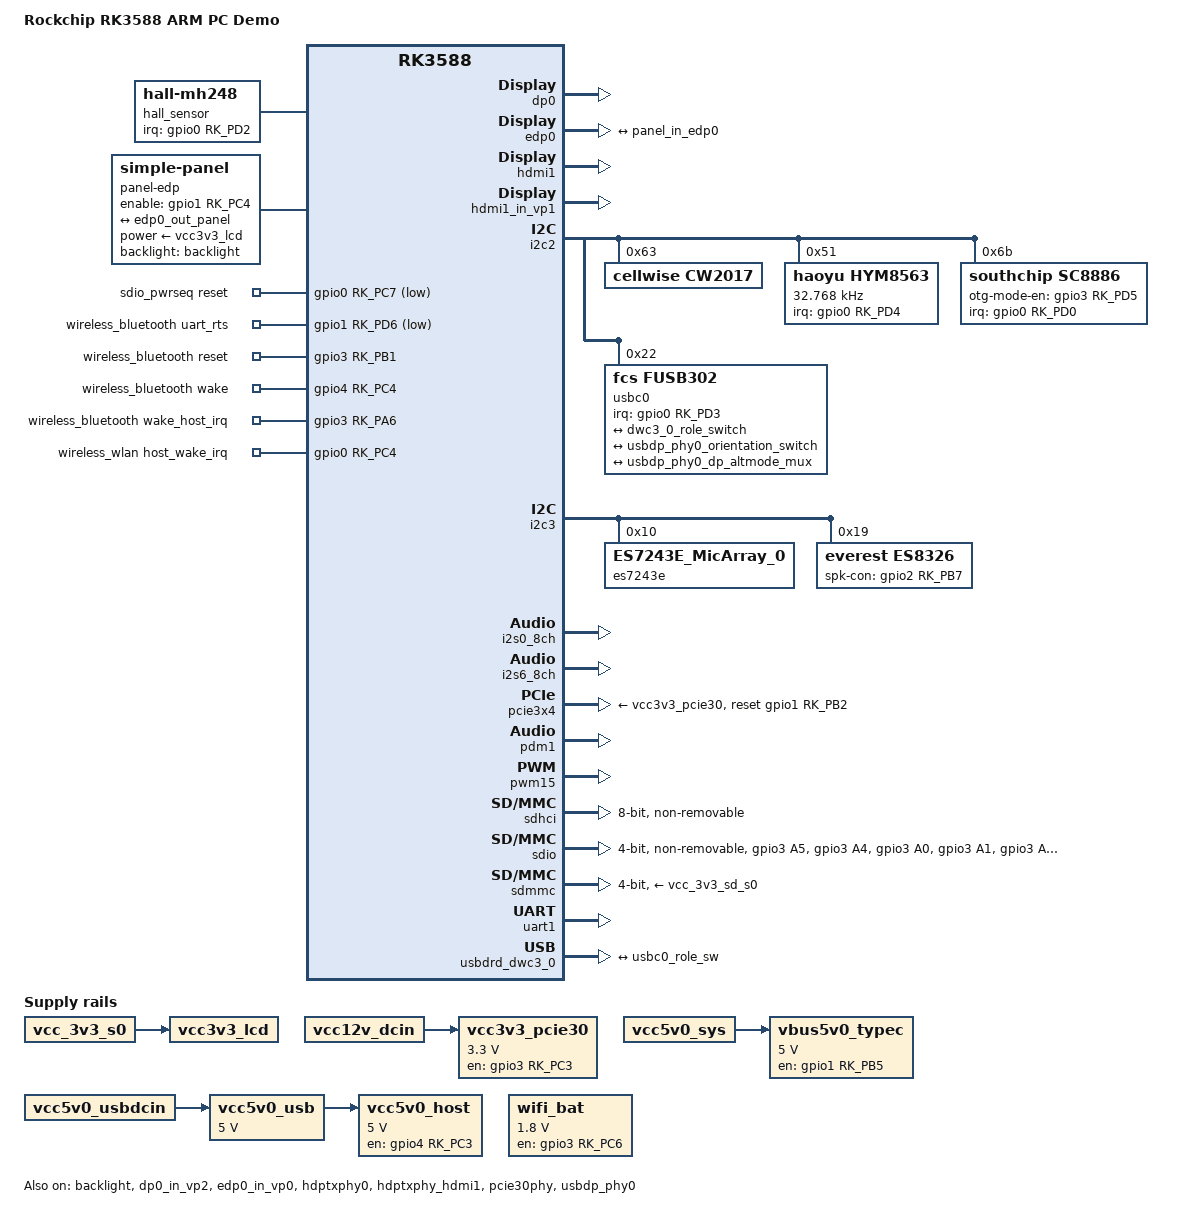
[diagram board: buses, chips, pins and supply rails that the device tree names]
// SPDX-License-Identifier: (GPL-2.0+ OR MIT)
/*
 * Copyright (c) 2021 Rockchip Electronics Co., Ltd.
 *
 */

/dts-v1/;

#include <dt-bindings/usb/pd.h>
#include <dt-bindings/display/rockchip_vop.h>

#include "rk3588.dtsi"
#include "rk3588-rk806-dual.dtsi"
#include "rk3588-linux.dtsi"
#include "rk3588-pc.dtsi"

/ {
	model = "Rockchip RK3588 ARM PC Demo";
	compatible = "rockchip,rk3588-arm-pc-demo", "rockchip,rk3588";

	chosen: chosen {
		bootargs = "earlycon=uart8250,mmio32,0xfeb50000 console=tty1 console=ttyFIQ0 root=PARTUUID=614e0000-0000 rw rootwait wifibt=ap6275s:ttyS1";
	};

	dmic_sound: dmic-sound {
		compatible = "simple-audio-card";
		simple-audio-card,format = "i2s";
		simple-audio-card,mclk-fs = <256>;
		simple-audio-card,name = "rockchip,dmic-sound";
		simple-audio-card,cpu {
			sound-dai = <&pdm1>;
		};
		simple-audio-card,codec {
			sound-dai = <&dmic_codec>;
		};
	};

	dmic_codec: dmic-codec {
		compatible = "rockchip,dummy-codec";
		#sound-dai-cells = <0>;
	};

	es_sound: es-sound {
		compatible = "simple-audio-card";
		simple-audio-card,format = "i2s";
		simple-audio-card,mclk-fs = <256>;
		simple-audio-card,name = "rockchip,es-sound";

		simple-audio-card,dai-link@0 {
			format = "i2s";
			cpu {
				sound-dai = <&i2s0_8ch>;
			};
			codec {
				sound-dai = <&es8326>;
			};
		};
		simple-audio-card,dai-link@1 {
			format = "i2s";
			cpu {
				sound-dai = <&i2s0_8ch>;
			};
			codec {
				sound-dai = <&es7243e>;
			};
		};
	};

	hall_sensor: hall-mh248 {
		compatible = "hall-mh248";
		pinctrl-names = "default";
		pinctrl-0 = <&mh248_irq_gpio>;
		irq-gpio = <&gpio0 RK_PD2 IRQ_TYPE_EDGE_BOTH>;
		hall-active = <1>;
		status = "okay";
	};

	leds: leds {
		compatible = "gpio-leds";
		pinctrl-names = "default";
		pinctrl-0 =<&leds_gpio>;
	};

	panel-edp {
		compatible = "simple-panel";
		backlight = <&backlight>;
		enable-gpios = <&gpio1 RK_PC4 GPIO_ACTIVE_HIGH>;
		power-supply = <&vcc3v3_lcd>;
		prepare-delay-ms = <210>;
		enable-delay-ms = <50>;
		unprepare-delay-ms = <160>;
		disable-delay-ms = <120>;
		width-mm = <309>;
		height-mm = <174>;

		panel-timing {
			clock-frequency = <148500000>;
			hactive = <1920>;
			vactive = <1080>;
			hfront-porch = <48>;
			hsync-len = <32>;
			hback-porch = <200>;
			vfront-porch = <3>;
			vsync-len = <5>;
			vback-porch = <37>;
			hsync-active = <0>;
			vsync-active = <0>;
			de-active = <0>;
			pixelclk-active = <0>;
		};

		port {
			panel_in_edp0: endpoint {
				remote-endpoint = <&edp0_out_panel>;
			};
		};
	};

	sdio_pwrseq: sdio-pwrseq {
		compatible = "mmc-pwrseq-simple";
		pinctrl-names = "default";
		pinctrl-0 = <&wifi_enable_h>;

		/*
		 * On the module itself this is one of these (depending
		 * on the actual card populated):
		 * - SDIO_RESET_L_WL_REG_ON
		 * - PDN (power down when low)
		 */
		post-power-on-delay-ms = <200>;
		reset-gpios = <&gpio0 RK_PC7 GPIO_ACTIVE_LOW>;
	};

	vcc3v3_lcd: vcc3v3-lcd {
		compatible = "regulator-fixed";
		regulator-name = "vcc3v3_lcd";
		vin-supply = <&vcc_3v3_s0>;
	};

	vcc3v3_pcie30: vcc3v3-pcie30 {
		compatible = "regulator-fixed";
		regulator-name = "vcc3v3_pcie30";
		regulator-min-microvolt = <3300000>;
		regulator-max-microvolt = <3300000>;
		enable-active-high;
		gpios = <&gpio3 RK_PC3 GPIO_ACTIVE_HIGH>;
		startup-delay-us = <5000>;
		vin-supply = <&vcc12v_dcin>;
	};

	vcc5v0_host: vcc5v0-host {
		compatible = "regulator-fixed";
		regulator-name = "vcc5v0_host";
		regulator-boot-on;
		regulator-always-on;
		regulator-min-microvolt = <5000000>;
		regulator-max-microvolt = <5000000>;
		enable-active-high;
		gpio = <&gpio4 RK_PC3 GPIO_ACTIVE_HIGH>;
		vin-supply = <&vcc5v0_usb>;
		pinctrl-names = "default";
		pinctrl-0 = <&vcc5v0_host_en>;
	};

	vbus5v0_typec: vbus5v0-typec {
		compatible = "regulator-fixed";
		regulator-name = "vbus5v0_typec";
		regulator-min-microvolt = <5000000>;
		regulator-max-microvolt = <5000000>;
		enable-active-high;
		gpio = <&gpio1 RK_PB5 GPIO_ACTIVE_HIGH>;
		vin-supply = <&vcc5v0_sys>;
		pinctrl-names = "default";
		pinctrl-0 = <&typec5v_pwren>;

	};

	vcc5v0_usb: vcc5v0-usb {
		compatible = "regulator-fixed";
		regulator-name = "vcc5v0_usb";
		regulator-always-on;
		regulator-boot-on;
		regulator-min-microvolt = <5000000>;
		regulator-max-microvolt = <5000000>;
		vin-supply = <&vcc5v0_usbdcin>;
	};

	wifi_bat: wifi_bat {
		compatible = "regulator-fixed";
		regulator-name = "wifi_vbat";
		regulator-boot-on;
		regulator-always-on;
		regulator-min-microvolt = <1800000>;
		regulator-max-microvolt = <1800000>;
		gpio = <&gpio3 RK_PC6 GPIO_ACTIVE_HIGH>;
		enable-active-high;
		pinctrl-names = "default";
		pinctrl-0 = <&wifi_3v3>;
	};

	wireless_bluetooth: wireless-bluetooth {
		compatible = "bluetooth-platdata";
		clocks = <&hym8563>;
		clock-names = "ext_clock";
		uart_rts_gpios = <&gpio1 RK_PD6 GPIO_ACTIVE_LOW>;
		pinctrl-names = "default", "rts_gpio";
		pinctrl-0 = <&uart1m1_rtsn>;
		pinctrl-1 = <&uart1_gpios>;
		BT,reset_gpio    = <&gpio3 RK_PB1 GPIO_ACTIVE_HIGH>;
		BT,wake_gpio     = <&gpio4 RK_PC4 GPIO_ACTIVE_HIGH>;
		BT,wake_host_irq = <&gpio3 RK_PA6 GPIO_ACTIVE_HIGH>;
		status = "okay";
	};

	wireless_wlan: wireless-wlan {
		compatible = "wlan-platdata";
		wifi_chip_type = "ap6275s";
		pinctrl-names = "default";
		pinctrl-0 = <&wifi_host_wake_irq>;
		WIFI,host_wake_irq = <&gpio0 RK_PC4 GPIO_ACTIVE_HIGH>;
		status = "okay";
	};

};

&backlight {
	status = "okay";
	pwms = <&pwm15 0 25000 0>;
	enable-gpios = <&gpio4 RK_PB5 GPIO_ACTIVE_HIGH>;
};

&dp0 {
	status = "okay";
};

&dp0_in_vp2 {
	status = "okay";
};

&edp0 {
	force-hpd;
	status = "okay";

	ports {
		port@1 {
			reg = <1>;

			edp0_out_panel: endpoint {
				remote-endpoint = <&panel_in_edp0>;
			};
		};
	};
};

&edp0_in_vp0 {
	status = "okay";
};

&hdmi1 {
	pinctrl-0=<&hdmim2_tx1_cec &hdmim0_tx1_hpd &hdmim2_tx1_scl &hdmim2_tx1_sda>;
	pinctrl-names = "default";
	enable-gpios = <&gpio4 RK_PB0 GPIO_ACTIVE_HIGH>;
	status = "okay";
};

&hdmi1_in_vp1 {
	status = "okay";
};

&hdmi1_sound {
	status = "disabled";
};

&hdptxphy0 {
	status = "okay";
};

&hdptxphy_hdmi1 {
	status = "okay";
};

&i2c2 {
	status = "okay";
	cw2017: cw2017@63 {
		status = "okay";
		compatible = "cellwise,cw2017";
		reg = <0x63>;
		cellwise,battery-profile = /bits/ 8
			<0x46 0x00 0x00 0x00 0x00 0x00 0x00 0x00
			0xA1 0xC1 0xC6 0xC9 0xCE 0xC6 0x8B 0x48
			0x28 0xFF 0xFF 0xCC 0x9F 0x75 0x60 0x50
			0x47 0x43 0x3D 0x74 0xA2 0xD8 0x96 0xD9
			0xD1 0xCF 0xCD 0xCA 0xB8 0xE0 0xDB 0x91
			0xA8 0xAF 0xAB 0x96 0x89 0x7E 0x71 0x5F
			0x53 0x4C 0x66 0x87 0x9B 0x8B 0x78 0x99
			0x00 0x00 0x90 0x02 0x00 0x00 0x00 0x00
			0x00 0x00 0x64 0x00 0x00 0x00 0x00 0x00
			0x00 0x00 0x00 0x00 0x00 0x00 0x00 0x6E>;
		cellwise,dual-cell;
		cellwise,monitor-interval-ms = <5000>;
		power-supplies = <&sc8886>;
	};

	hym8563: hym8563@51 {
		compatible = "haoyu,hym8563";
		reg = <0x51>;
		#clock-cells = <0>;
		clock-frequency = <32768>;
		clock-output-names = "hym8563";
		pinctrl-names = "default";
		pinctrl-0 = <&hym8563_int>;
		interrupt-parent = <&gpio0>;
		interrupts = <RK_PD4 IRQ_TYPE_LEVEL_LOW>;
	};

	sc8886: sc8886@6b {
		compatible = "southchip,sc8886";
		reg = <0x6b>;
		ti,usb-charger-detection = <&usbc0>;
		interrupt-parent = <&gpio0>;
		interrupts = <RK_PD0 IRQ_TYPE_LEVEL_LOW>;
		otg-mode-en-gpio = <&gpio3 RK_PD5 GPIO_ACTIVE_HIGH>;
		pinctrl-names = "default";
		pinctrl-0 = <&charger_ok>;
		extcon = <&u2phy0>;
		ti,charge-current = <2500000>;
		ti,max-input-voltage = <20000000>;
		ti,max-input-current = <6000000>;
		ti,max-charge-voltage = <8750000>;
		ti,input-current = <500000>;
		ti,input-current-sdp = <500000>;
		ti,input-current-dcp = <2000000>;
		ti,input-current-cdp = <2000000>;
		ti,minimum-sys-voltage = <7400000>;
		ti,otg-voltage = <5000000>;
		ti,otg-current = <500000>;
		pd-charge-only = <0>;
		status = "okay";
	};

	usbc0: fusb302@22 {
		compatible = "fcs,fusb302";
		reg = <0x22>;
		interrupt-parent = <&gpio0>;
		interrupts = <RK_PD3 IRQ_TYPE_LEVEL_LOW>;
		pinctrl-names = "default";
		pinctrl-0 = <&usbc0_int>;
		status = "okay";

		ports {
			#address-cells = <1>;
			#size-cells = <0>;

			port@0 {
				reg = <0>;
				usbc0_role_sw: endpoint@0 {
					remote-endpoint = <&dwc3_0_role_switch>;
				};
			};
		};

		usb_con: connector {
			compatible = "usb-c-connector";
			label = "USB-C";
			data-role = "dual";
			power-role = "dual";
			try-power-role = "sink";
			op-sink-microwatt = <1000000>;
			sink-pdos =
				<PDO_FIXED(5000, 1000, PDO_FIXED_USB_COMM)
				 PDO_FIXED(20000, 2250, PDO_FIXED_USB_COMM)>;
			source-pdos =
				<PDO_FIXED(5000, 3000, PDO_FIXED_USB_COMM)>;

			altmodes {
				#address-cells = <1>;
				#size-cells = <0>;

				altmode@0 {
					reg = <0>;
					svid = <0xff01>;
					vdo = <0xffffffff>;
				};
			};

			ports {
				#address-cells = <1>;
				#size-cells = <0>;

				port@0 {
					reg = <0>;
					usbc0_orien_sw: endpoint {
						remote-endpoint = <&usbdp_phy0_orientation_switch>;
					};
				};

				port@1 {
					reg = <1>;
					dp_altmode_mux: endpoint {
						remote-endpoint = <&usbdp_phy0_dp_altmode_mux>;
					};
				};
			};
		};
	};
};

&i2c3 {
	status = "okay";
	es7243e: es7243e@10 {
		status = "okay";
		#sound-dai-cells = <0>;
		compatible = "ES7243E_MicArray_0";
		reg = <0x10>;
	};

	es8326: es8326@19 {
		compatible = "everest,es8326";
		status = "okay";
		reg = <0x19>;
		#sound-dai-cells = <0>;
		clocks = <&cru I2S0_8CH_MCLKOUT>;
		clock-names = "mclk";
		assigned-clocks = <&cru I2S0_8CH_MCLKOUT>;
		assigned-clock-rates = <12288000>;
		pinctrl-names = "default";
		pinctrl-0 = <&i2s0_mclk>;
		spk-con-gpio = <&gpio2 RK_PB7 GPIO_ACTIVE_HIGH>;
	};
};

&i2s0_8ch {
	status = "okay";
	#sound-dai-cells = <0>;
	rockchip,i2s-rx-route = <0 2 1 3>;
	pinctrl-names = "default";
	pinctrl-0 = <&i2s0_lrck
		     &i2s0_sclk
		     &i2s0_sdi0
		     &i2s0_sdi1
		     &i2s0_sdi2
		     &i2s0_sdo0>;
};

&i2s6_8ch {
	status = "okay";
};

&pcie30phy {
	rockchip,pcie30-phymode = <PHY_MODE_PCIE_AGGREGATION>;
	status = "okay";
};

&pcie3x4 {
	reset-gpios = <&gpio1 RK_PB2 GPIO_ACTIVE_HIGH>;
	vpcie3v3-supply = <&vcc3v3_pcie30>;
	status = "okay";
};

&pdm1 {
	status = "okay";
	#sound-dai-cells = <0>;
	pinctrl-names = "default";
	pinctrl-0 = <&pdm1m1_clk
		     &pdm1m1_sdi0>;
};

&pinctrl {

	gpio-leds {
		leds_gpio: leds-gpio {
			rockchip,pins = <3 RK_PC1 RK_FUNC_GPIO &pcfg_output_high>;
		};
	};

	hym8563 {
		hym8563_int: hym8563-int {
			rockchip,pins = <0 RK_PD4 RK_FUNC_GPIO &pcfg_pull_up>;
		};
	};

	sc8886 {
		charger_ok: charger-ok {
			rockchip,pins = <0 RK_PD0 RK_FUNC_GPIO &pcfg_pull_up>;
		};
	};

	sdio-pwrseq {
		wifi_enable_h: wifi-enable-h {
			rockchip,pins = <0 RK_PC7 RK_FUNC_GPIO &pcfg_pull_none>;
		};
	};

	sdio-wifi {
		sdio_pins: sdio-pins {
			rockchip,pins =
				/* sdio_clk_m1 */
				<3 RK_PA5 2 &pcfg_pull_up_drv_level_2>,
				/* sdio_cmd_m1 */
				<3 RK_PA4 2 &pcfg_pull_up_drv_level_2>,
				/* sdio_d0_m1 */
				<3 RK_PA0 2 &pcfg_pull_up_drv_level_2>,
				/* sdio_d1_m1 */
				<3 RK_PA1 2 &pcfg_pull_up_drv_level_2>,
				/* sdio_d2_m1 */
				<3 RK_PA2 2 &pcfg_pull_up_drv_level_2>,
				/* sdio_d3_m1 */
				<3 RK_PA3 2 &pcfg_pull_up_drv_level_2>;
		};
	};

	sensor {
		mh248_irq_gpio: mh248-irq-gpio {
			rockchip,pins = <0 RK_PD2 RK_FUNC_GPIO &pcfg_pull_up>;
		};
	};

	usb {
		vcc5v0_host_en: vcc5v0-host-en {
			rockchip,pins = <4 RK_PC3 RK_FUNC_GPIO &pcfg_pull_none>,
					<2 RK_PB6 RK_FUNC_GPIO &pcfg_output_high>, /* CAM_EN */
					<3 RK_PC0 RK_FUNC_GPIO &pcfg_output_high>; /* HUB_EN */
		};
	};

	usb-typec {
		usbc0_int: usbc0-int {
			rockchip,pins = <0 RK_PD3 RK_FUNC_GPIO &pcfg_pull_up>;
		};

		typec5v_pwren: typec5v-pwren {
			rockchip,pins = <1 RK_PB5 RK_FUNC_GPIO &pcfg_pull_none>;
		};
	};

	wifi_vbat {
		wifi_3v3: wifi-vbat {
			rockchip,pins = <3 RK_PC6 RK_FUNC_GPIO &pcfg_pull_up>;
		};
	};

	wireless-bluetooth {
		uart1_gpios: uart1-gpios {
			rockchip,pins = <1 RK_PD6 RK_FUNC_GPIO &pcfg_pull_none>;
		};
	};

	wireless-wlan {
		wifi_host_wake_irq: wifi-host-wake-irq {
			rockchip,pins = <0 RK_PC4 RK_FUNC_GPIO &pcfg_pull_none>;
		};
	};
};

&pwm15 {
	pinctrl-0 = <&pwm15m1_pins>;
	status = "okay";
};

&sdhci {
	bus-width = <8>;
	no-sdio;
	no-sd;
	non-removable;
	max-frequency = <200000000>;
	mmc-hs400-1_8v;
	mmc-hs400-enhanced-strobe;
	status = "okay";
};

&sdio {
	max-frequency = <150000000>;
	no-sd;
	no-mmc;
	bus-width = <4>;
	disable-wp;
	cap-sd-highspeed;
	cap-sdio-irq;
	keep-power-in-suspend;
	mmc-pwrseq = <&sdio_pwrseq>;
	non-removable;
	pinctrl-names = "default";
	pinctrl-0 = <&sdio_pins>;
	sd-uhs-sdr104;
	status = "okay";
};

&sdmmc {
	max-frequency = <150000000>;
	no-sdio;
	no-mmc;
	bus-width = <4>;
	cap-mmc-highspeed;
	cap-sd-highspeed;
	disable-wp;
	sd-uhs-sdr104;
	vmmc-supply = <&vcc_3v3_sd_s0>;
	vqmmc-supply = <&vccio_sd_s0>;
	status = "okay";
};

&uart1 {
	status = "okay";
	pinctrl-names = "default";
	pinctrl-0 = <&uart1m1_xfer &uart1m1_ctsn>;
};

&usbdrd_dwc3_0 {
	status = "okay";
	usb-role-switch;
	port {
		#address-cells = <1>;
		#size-cells = <0>;
		dwc3_0_role_switch: endpoint@0 {
			reg = <0>;
			remote-endpoint = <&usbc0_role_sw>;
		};
	};
};

&usbdp_phy0 {
	status = "okay";
	orientation-switch;
	svid = <0xff01>;
	sbu1-dc-gpios = <&gpio4 RK_PA6 GPIO_ACTIVE_HIGH>;
	sbu2-dc-gpios = <&gpio4 RK_PA7 GPIO_ACTIVE_HIGH>;

	port {
		#address-cells = <1>;
		#size-cells = <0>;
		usbdp_phy0_orientation_switch: endpoint@0 {
		reg = <0>;
		remote-endpoint = <&usbc0_orien_sw>;
		};

		usbdp_phy0_dp_altmode_mux: endpoint@1 {
		reg = <1>;
		remote-endpoint = <&dp_altmode_mux>;
		};
	};
};
